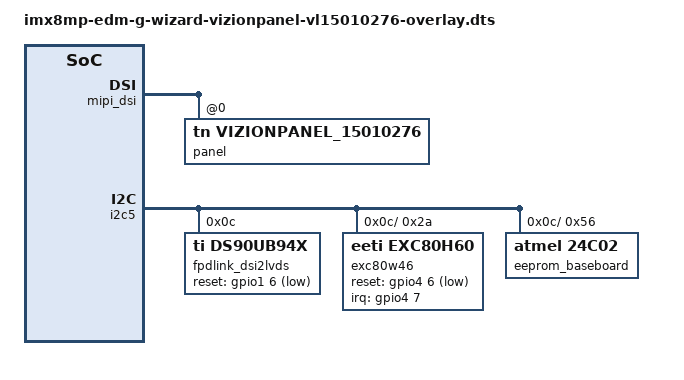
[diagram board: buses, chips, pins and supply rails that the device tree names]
// SPDX-License-Identifier: (GPL-2.0+ OR MIT)
/*
 * Copyright 2020 TechNexion Ltd.
 *
 * Author: Richard Hu <richard.hu@technexion.com>
 *
 */

/dts-v1/;
/plugin/;

#include <dt-bindings/interrupt-controller/irq.h>
#include <dt-bindings/gpio/gpio.h>

/ {
	fragment@0 {
		target-path = "/";
		__overlay__ {
			backlight_mipi {
				status = "okay";
			};
		};
	};

	fragment@1 {
		target = <&mipi_dsi>;
		__overlay__ {
			status = "okay";
			#address-cells = <1>;
			#size-cells = <0>;

			panel@0 {
				compatible = "tn,vizionpanel_15010276";
				reg = <0>;
				status = "okay";
			};
		};
	};

	fragment@2 {
		target = <&i2c5>;
		__overlay__ {
			#address-cells = <1>;
			#size-cells = <0>;
			status = "okay";

			fpdlink_dsi2lvds: ds90ub948@c {
				compatible = "ti,ds90ub94x";
				reg = <0x0c>;
				status = "okay";
				pinctrl-names = "default";
				pinctrl-0 = <&pinctrl_gpio1>;
				reset-gpios = <&gpio1 6 GPIO_ACTIVE_LOW>;
				vizionpanel-remote-gpio;
				dsi-delay = <2500>;
				i2c-alias-pool = <0x48 0x49 0x4a 0x4b 0x4c 0x4d 0x4e 0x4f>;

				i2c {
					#address-cells = <1>;
					#size-cells = <0>;

					exc80w46: touchscreen@2a {
						compatible = "eeti,exc80h60";
						pinctrl-names = "default";
						pinctrl-0 = <&pinctrl_mipi_touch_irq>, <&pinctrl_mipi_touch_reset>;
						reg = <0x2a>;
						interrupt-parent = <&gpio4>;
						interrupts = <7 IRQ_TYPE_LEVEL_LOW>;
						reset-gpios = <&gpio4 6 GPIO_ACTIVE_LOW>;
						status = "okay";
					};

					eeprom_baseboard: eeprom@56 {
						compatible = "atmel,24c02";
						reg = <0x56>;
						pagesize = <16>;
						status = "okay";
					};
				};
			};
		};
	};
};
